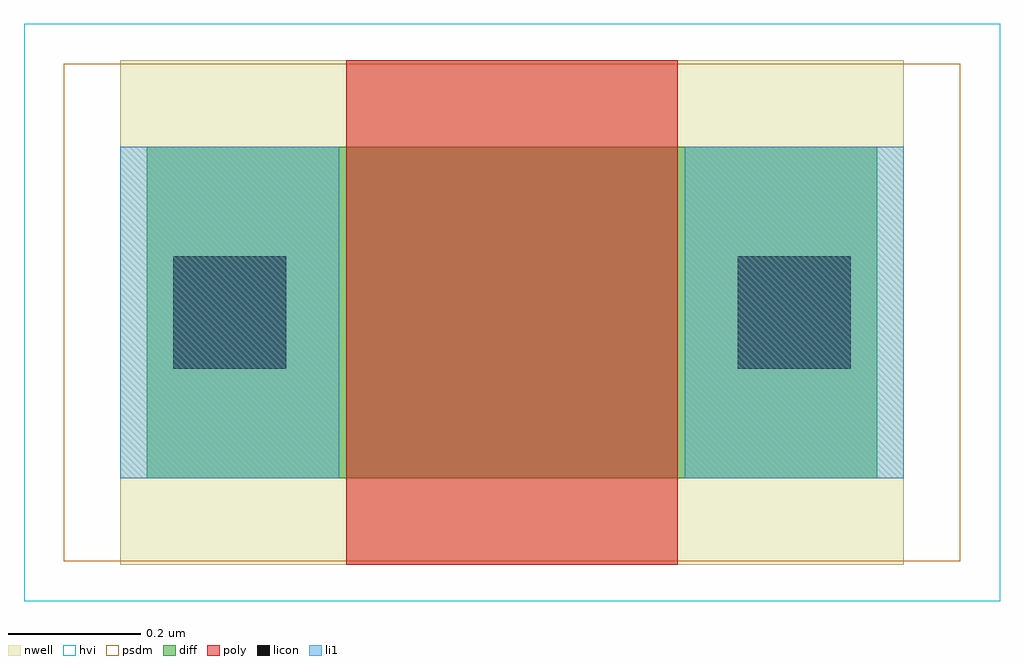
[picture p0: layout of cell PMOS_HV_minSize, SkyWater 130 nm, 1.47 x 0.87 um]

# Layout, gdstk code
import gdstk
lib = gdstk.Library(unit=1e-6, precision=1e-09)
def R(c, l, rs):  # rectangles x0, y0, x1, y1
    for r in rs: c.add(gdstk.rectangle(r[:2], r[2:], *l))
nwell = (64, 20)
diff = (65, 20)
poly = (66, 20)
licon = (66, 44)
li1 = (67, 20)
hvi = (75, 20)
psdm = (94, 20)

pmos_hv_minsize = lib.new_cell('PMOS_HV_minSize')
R(pmos_hv_minsize, nwell, [(-1.21,0.2,-0.03,0.96)])
R(pmos_hv_minsize, diff, [(-1.17,0.33,-0.07,0.83)])
R(pmos_hv_minsize, poly, [(-0.87,0.2,-0.37,0.96)])
R(pmos_hv_minsize, licon, [(-1.13,0.495,-0.96,0.665), (-0.28,0.495,-0.11,0.665)])
R(pmos_hv_minsize, li1, [(-1.21,0.33,-0.88,0.83), (-0.36,0.33,-0.03,0.83)])
R(pmos_hv_minsize, hvi, [(-1.355,0.145,0.115,1.015)])
R(pmos_hv_minsize, psdm, [(-1.295,0.205,0.055,0.955)])

lib.write_gds('PMOS_HV_minSize.gds')
